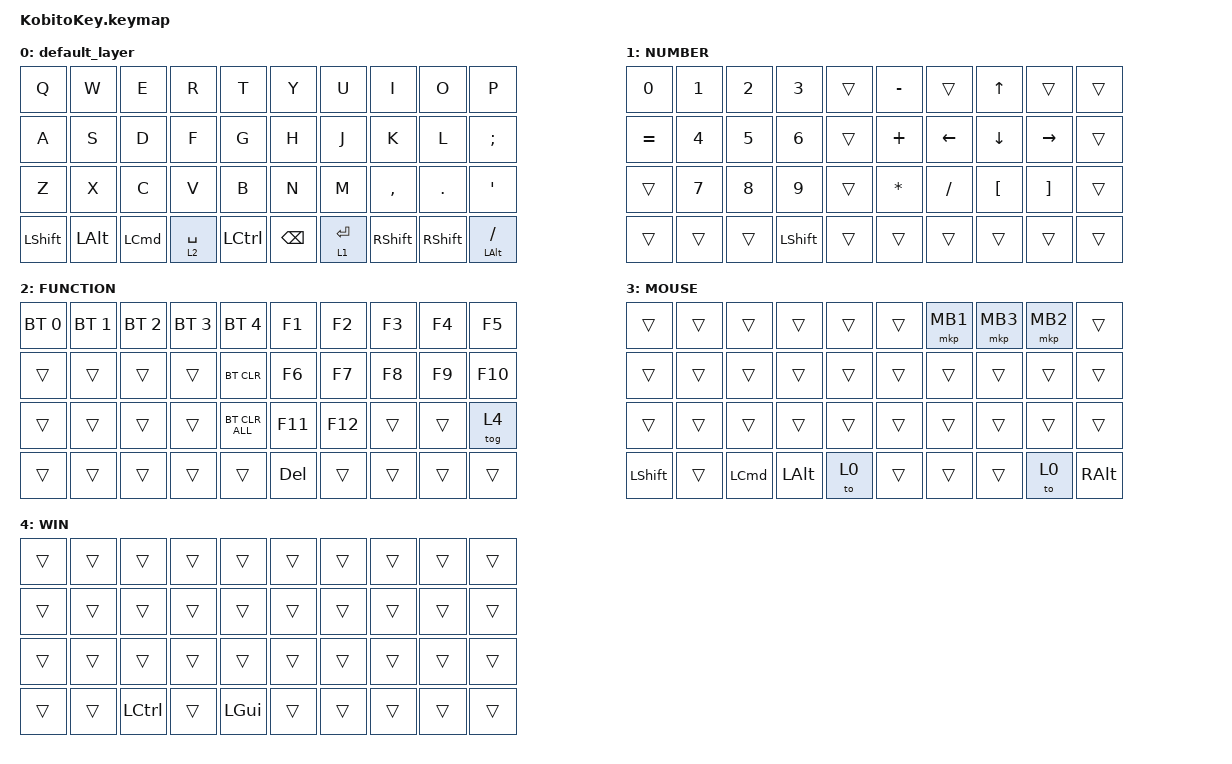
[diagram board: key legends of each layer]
#include <input/processors.dtsi>
#include <behaviors.dtsi>
#include <dt-bindings/zmk/bt.h>
#include <dt-bindings/zmk/keys.h>
#include <dt-bindings/zmk/pointing.h>

/*
 * Layers
 * 0: QWERTY (Mac default)
 * 1: NUMBER & ARROW
 * 2: FUNCTION (Bluetooth / F-keys / OS toggle)
 * 3: MOUSE
 * 4: WIN overlay — toggled on via `&tog 4` on layer 2.
 *    Overrides only the Mac-specific modifier positions (LCMD/LCTRL);
 *    everything else falls through via &trans. IME combos (LANG1/LANG2)
 *    work on both macOS and Windows with a properly configured IME.
 */

/ {
    combos {
        compatible = "zmk,combos";

        combo_eisu {
            timeout-ms = <50>;
            key-positions = <12 13>;
            bindings = <&kp LANG2>;
        };

        combo_kana {
            timeout-ms = <50>;
            key-positions = <16 17>;
            bindings = <&kp LANG1>;
        };

        combo_esc {
            timeout-ms = <50>;
            key-positions = <0 1>;
            bindings = <&kp ESC>;
        };

        combo_tab {
            timeout-ms = <50>;
            key-positions = <10 11>;
            bindings = <&kp TAB>;
        };
    };

    keymap {
        compatible = "zmk,keymap";

        default_layer {
            bindings = <
&kp Q      &kp W     &kp E     &kp R        &kp T      &kp Y     &kp U        &kp I      &kp O      &kp P
&kp A      &kp S     &kp D     &kp F        &kp G      &kp H     &kp J        &kp K      &kp L      &kp SEMI
&kp Z      &kp X     &kp C     &kp V        &kp B      &kp N     &kp M        &kp COMMA  &kp DOT    &kp APOS
&kp LSHFT  &kp LALT  &kp LCMD  &lt 2 SPACE  &kp LCTRL  &kp BSPC  &lt 1 ENTER  &kp RSHFT  &kp RSHFT  &mt LALT SLASH
            >;
        };

        layer1 {
            label = "NUMBER";
            bindings = <
&kp N0     &kp N1  &kp N2  &kp N3     &trans  &kp MINUS  &trans     &kp UP    &trans     &trans
&kp EQUAL  &kp N4  &kp N5  &kp N6     &trans  &kp PLUS   &kp LEFT   &kp DOWN  &kp RIGHT  &trans
&trans     &kp N7  &kp N8  &kp N9     &trans  &kp ASTRK  &kp SLASH  &kp LBKT  &kp RBKT   &trans
&trans     &trans  &trans  &kp LSHFT  &trans  &trans     &trans     &trans    &trans     &trans
            >;
        };

        layer2 {
            label = "FUNCTION";
            bindings = <
&bt BT_SEL 0  &bt BT_SEL 1  &bt BT_SEL 2  &bt BT_SEL 3  &bt BT_SEL 4    &kp F1   &kp F2   &kp F3  &kp F4  &kp F5
&trans        &trans        &trans        &trans        &bt BT_CLR      &kp F6   &kp F7   &kp F8  &kp F9  &kp F10
&trans        &trans        &trans        &trans        &bt BT_CLR_ALL  &kp F11  &kp F12  &trans  &trans  &tog 4
&trans        &trans        &trans        &trans        &trans          &kp DEL  &trans   &trans  &trans  &trans
            >;
        };

        layer3 {
            label = "MOUSE";
            bindings = <
&trans     &trans  &trans    &trans    &trans  &trans  &mkp MB1  &mkp MB3  &mkp MB2  &trans
&trans     &trans  &trans    &trans    &trans  &trans  &trans    &trans    &trans    &trans
&trans     &trans  &trans    &trans    &trans  &trans  &trans    &trans    &trans    &trans
&kp LSHFT  &trans  &kp LCMD  &kp LALT  &to 0   &trans  &trans    &trans    &to 0     &kp RALT
            >;
        };

        /* WIN overlay: swaps Mac's LCMD position to LCTRL, and Mac's LCTRL
         * position to LGUI (the Windows key), so muscle memory for Cmd+C /
         * Cmd+V translates directly to Ctrl+C / Ctrl+V on Windows. Toggled
         * via `&tog 4` at layer2 position 29 (right pinky). */
        win_layer {
            label = "WIN";
            bindings = <
&trans  &trans  &trans     &trans  &trans    &trans  &trans  &trans  &trans  &trans
&trans  &trans  &trans     &trans  &trans    &trans  &trans  &trans  &trans  &trans
&trans  &trans  &trans     &trans  &trans    &trans  &trans  &trans  &trans  &trans
&trans  &trans  &kp LCTRL  &trans  &kp LGUI  &trans  &trans  &trans  &trans  &trans
            >;
        };
    };
};
